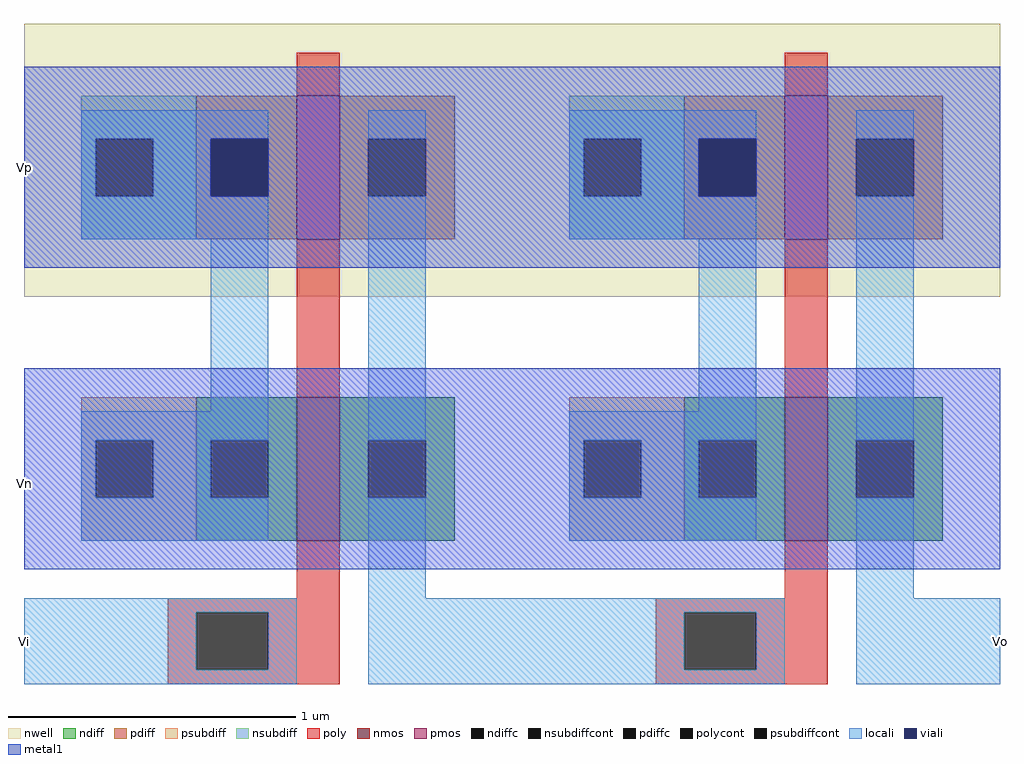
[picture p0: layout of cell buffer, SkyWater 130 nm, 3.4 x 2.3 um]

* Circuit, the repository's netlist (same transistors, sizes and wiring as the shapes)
* SPICE3 file created from buffer.ext - technology: sky130A

X0 inv_v3_1/A Vi Vp Vp sky130_fd_pr__nfet_01v8 ad=0.2 pd=1.8 as=0.175 ps=1.7 w=0.5 l=0.15
X1 inv_v3_1/A Vi Vp Vp sky130_fd_pr__pfet_01v8 ad=0.2 pd=1.8 as=0.175 ps=1.7 w=0.5 l=0.15
X2 Vo inv_v3_1/A Vp Vp sky130_fd_pr__nfet_01v8 ad=0.2 pd=1.8 as=0.75 ps=7 w=0.5 l=0.15
X3 Vo inv_v3_1/A Vp Vp sky130_fd_pr__pfet_01v8 ad=0.2 pd=1.8 as=0.75 ps=7 w=0.5 l=0.15

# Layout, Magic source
magic
tech sky130A
<< locali >>
rect 0 0 20 30
rect 320 0 340 30
<< metal1 >>
rect 0 145 20 215
rect 0 40 20 110
use inv_v3  inv_v3_0
transform 1 0 60 0 1 50
box -60 -50 110 180
use inv_v3  inv_v3_1
transform 1 0 230 0 1 50
box -60 -50 110 180
<< labels >>
rlabel metal1 0 180 0 180 7 Vp
rlabel metal1 0 70 0 70 7 Vn
rlabel locali 0 15 0 15 7 Vi
rlabel locali 340 15 340 15 3 Vo
<< end >>

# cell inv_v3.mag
magic
tech sky130A
<< nwell >>
rect -60 85 110 180
<< nmos >>
rect 35 0 50 50
<< pmos >>
rect 35 105 50 155
<< ndiff >>
rect 0 35 35 50
rect 0 15 5 35
rect 25 15 35 35
rect 0 0 35 15
rect 50 35 90 50
rect 50 15 60 35
rect 80 15 90 35
rect 50 0 90 15
<< pdiff >>
rect 0 140 35 155
rect 0 120 5 140
rect 25 120 35 140
rect 0 105 35 120
rect 50 140 90 155
rect 50 120 60 140
rect 80 120 90 140
rect 50 105 90 120
<< ndiffc >>
rect 5 15 25 35
rect 60 15 80 35
<< pdiffc >>
rect 5 120 25 140
rect 60 120 80 140
<< psubdiff >>
rect -40 35 0 50
rect -40 15 -35 35
rect -15 15 0 35
rect -40 0 0 15
<< nsubdiff >>
rect -40 140 0 155
rect -40 120 -35 140
rect -15 120 0 140
rect -40 105 0 120
<< psubdiffcont >>
rect -35 15 -15 35
<< nsubdiffcont >>
rect -35 120 -15 140
<< poly >>
rect 35 155 50 170
rect 35 50 50 105
rect 35 -20 50 0
rect -10 -25 50 -20
rect -10 -45 0 -25
rect 25 -45 50 -25
rect -10 -50 50 -45
<< polycont >>
rect 0 -45 25 -25
<< locali >>
rect -40 140 25 150
rect -40 120 -35 140
rect -15 120 5 140
rect -40 105 25 120
rect 5 45 25 105
rect -40 35 25 45
rect -40 15 -35 35
rect -15 15 5 35
rect -40 0 25 15
rect 60 140 80 150
rect 60 35 80 120
rect 60 -20 80 15
rect -60 -25 35 -20
rect -60 -45 0 -25
rect 25 -45 35 -25
rect -60 -50 35 -45
rect 60 -50 110 -20
<< viali >>
rect 5 120 25 140
<< metal1 >>
rect -60 140 110 165
rect -60 120 5 140
rect 25 120 110 140
rect -60 95 110 120
rect -60 -10 110 60
<< labels >>
rlabel locali -60 -30 -60 -30 7 A
port 1 w
rlabel locali 110 -35 110 -35 3 Y
port 2 e
rlabel metal1 -60 130 -60 130 7 Vp
port 3 w
rlabel metal1 -60 20 -60 20 7 Vn
port 4 w
<< end >>
